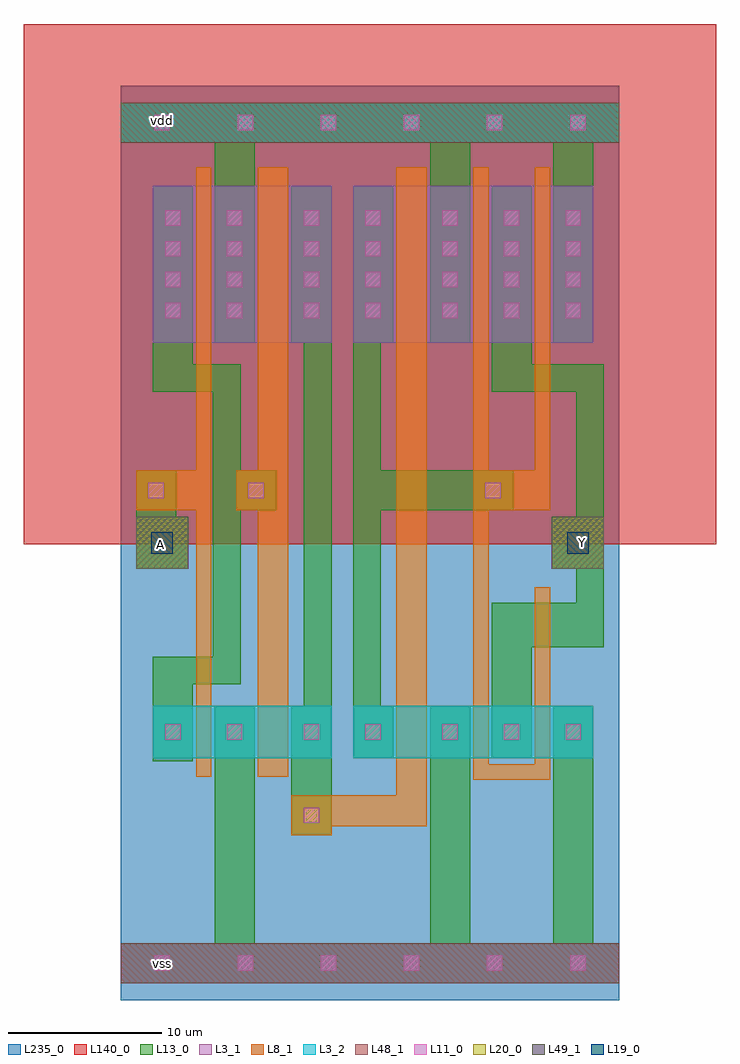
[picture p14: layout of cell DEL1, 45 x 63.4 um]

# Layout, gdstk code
import gdstk
lib = gdstk.Library(unit=1e-6, precision=1e-09)
def R(c, l, rs):  # rectangles x0, y0, x1, y1
    for r in rs: c.add(gdstk.rectangle(r[:2], r[2:], *l))
def A(c, l, x, y, w, h, nx, ny, dx, dy):  # array of equal rectangles
    R(c, l, [(x+i*dx, y+j*dy, x+i*dx+w, y+j*dy+h) for i in range(nx) for j in range(ny)])
def P(c, l, *ps):  # polygons
    for p in ps: c.add(gdstk.Polygon(p, *l))
L3_1 = (3, 1)
L3_2 = (3, 2)
L8_1 = (8, 1)
L11_0 = (11, 0)
L13_0 = (13, 0)
L19_0 = (19, 0)
L20_0 = (20, 0)
L48_1 = (48, 1)
L49_1 = (49, 1)
L140_0 = (140, 0)
L235_0 = (235, 0)

del1 = lib.new_cell('DEL1')
R(del1, L3_1, [(0,1.1,16.2,3.7), (16.2,1.1,32.4,3.7), (2.1,42.7,8.7,52.9), (6.1,42.7,13.7,52.9), (15.1,42.7,22.7,52.9), (20.1,42.7,26.7,52.9), (24.1,42.7,30.7,52.9)])
R(del1, L3_2, [(2.1,15.7,13.7,19.1), (2.1,15.7,13.7,19.1), (15.1,15.7,26.7,19.1), (15.1,15.7,26.7,19.1), (24.1,15.7,30.7,19.1), (0,55.7,16.2,58.3), (16.2,55.7,32.4,58.3)])
P(del1, L8_1, [(4.9,14.5),(4.9,31.8),(1,31.8),(1,34.4),(4.9,34.4),(4.9,54.1),(5.9,54.1),(5.9,14.5)],
  [(8.9,14.5),(8.9,31.8),(7.5,31.8),(7.5,34.4),(8.9,34.4),(8.9,54.1),(10.9,54.1),(10.9,14.5)],
  [(22.9,14.3),(22.9,54.1),(23.9,54.1),(23.9,34.4),(26.9,34.4),(26.9,54.1),(27.9,54.1),(27.9,31.8),(23.9,31.8),(23.9,15.3),(26.9,15.3),(26.9,26.8),(27.9,26.8),(27.9,14.3)],
  [(11.1,10.7),(11.1,13.3),(17.9,13.3),(17.9,54.1),(19.9,54.1),(19.9,11.3),(13.7,11.3),(13.7,10.7)])
A(del1, L11_0, 7.6, 1.9, 1, 1, 4, 1, 5.4, 0)
A(del1, L11_0, 2.9, 44.3, 1, 1, 1, 4, 0, 2)
A(del1, L11_0, 11.9, 44.3, 1, 1, 1, 4, 0, 2)
A(del1, L11_0, 15.9, 44.3, 1, 1, 1, 4, 0, 2)
A(del1, L11_0, 20.9, 44.3, 1, 1, 1, 4, 0, 2)
A(del1, L11_0, 20.9, 44.3, 1, 1, 3, 4, 4, 2)
A(del1, L11_0, 7.6, 56.5, 1, 1, 3, 1, 5.4, 0)
R(del1, L11_0, [(2.2,1.9,3.2,2.9), (7.6,1.9,8.6,2.9), (23.8,1.9,24.8,2.9), (29.2,1.9,30.2,2.9), (11.9,11.5,12.9,12.5), (2.9,16.9,3.9,17.9), (2.9,16.9,3.9,17.9), (6.9,16.9,7.9,17.9), (6.9,16.9,7.9,17.9), (11.9,16.9,12.9,17.9), (11.9,16.9,12.9,17.9), (15.9,16.9,16.9,17.9), (15.9,16.9,16.9,17.9), (20.9,16.9,21.9,17.9), (20.9,16.9,21.9,17.9), (24.9,16.9,25.9,17.9), (24.9,16.9,25.9,17.9), (28.9,16.9,29.9,17.9), (1.8,32.6,2.8,33.6), (8.3,32.6,9.3,33.6), (23.7,32.6,24.7,33.6), (6.9,44.3,7.9,45.3), (6.9,44.3,7.9,45.3), (6.9,46.3,7.9,47.3), (6.9,46.3,7.9,47.3), (6.9,48.3,7.9,49.3), (6.9,48.3,7.9,49.3), (6.9,50.3,7.9,51.3), (6.9,50.3,7.9,51.3), (2.2,56.5,3.2,57.5), (2.2,56.5,3.2,57.5), (7.6,56.5,8.6,57.5), (7.6,56.5,8.6,57.5), (7.6,56.5,8.6,57.5), (18.4,56.5,19.4,57.5), (23.8,56.5,24.8,57.5), (23.8,56.5,24.8,57.5), (23.8,56.5,24.8,57.5), (23.8,56.5,24.8,57.5), (29.2,56.5,30.2,57.5)])
P(del1, L13_0, [(1,28),(1,34.4),(3.6,34.4),(3.6,31.4),(4.4,31.4),(4.4,28)],
  [(2.1,15.5),(2.1,22.3),(6,22.3),(6,39.5),(2.1,39.5),(2.1,52.9),(4.7,52.9),(4.7,41.3),(7.8,41.3),(7.8,34.4),(10.1,34.4),(10.1,31.8),(7.8,31.8),(7.8,20.5),(4.7,20.5),(4.7,15.5)],
  [(15.1,15.7),(15.1,52.9),(17.7,52.9),(17.7,42.7),(16.9,42.7),(16.9,34.4),(25.5,34.4),(25.5,31.8),(16.9,31.8),(16.9,19.1),(17.7,19.1),(17.7,15.7)],
  [(11.1,10.7),(11.1,19.1),(11.9,19.1),(11.9,42.7),(11.1,42.7),(11.1,52.9),(13.7,52.9),(13.7,10.7)],
  [(24.1,15.7),(24.1,25.8),(29.6,25.8),(29.6,28),(28,28),(28,31.4),(29.6,31.4),(29.6,39.5),(24.1,39.5),(24.1,52.9),(26.7,52.9),(26.7,41.3),(31.4,41.3),(31.4,22.9),(26.7,22.9),(26.7,15.7)],
  [(6.1,42.7),(6.1,55.7),(0,55.7),(0,58.3),(32.4,58.3),(32.4,55.7),(30.7,55.7),(30.7,42.7),(28.1,42.7),(28.1,55.7),(22.7,55.7),(22.7,42.7),(20.1,42.7),(20.1,55.7),(8.7,55.7),(8.7,42.7)],
  [(0,1.1),(0,3.7),(6.1,3.7),(6.1,19.1),(8.7,19.1),(8.7,3.7),(20.1,3.7),(20.1,19.1),(22.7,19.1),(22.7,3.7),(28.1,3.7),(28.1,19.1),(30.7,19.1),(30.7,3.7),(32.4,3.7),(32.4,1.1)])
R(del1, L19_0, [(2,29,3.4,30.4), (29,29,30.4,30.4)])
R(del1, L20_0, [(1,28,4.4,31.4), (28,28,31.4,31.4)])
R(del1, L48_1, [(0,1.1,16.2,3.7), (16.2,1.1,32.4,3.7), (0,55.7,16.2,58.3), (16.2,55.7,32.4,58.3)])
R(del1, L49_1, [(1,28,4.4,31.4), (28,28,31.4,31.4)])
R(del1, L140_0, [(-6.3,29.6,38.7,63.4)])
R(del1, L235_0, [(0,0,32.4,59.4)])
del1.add(gdstk.Label('Y', (30,29.7), layer=49, texttype=0))
del1.add(gdstk.Label('A', (2.6,29.6), layer=49, texttype=0))
del1.add(gdstk.Label('vss', (2.7,2.4), layer=48, texttype=0))
del1.add(gdstk.Label('vdd', (2.7,57.1), layer=48, texttype=0))

lib.write_gds('DEL1.gds')
